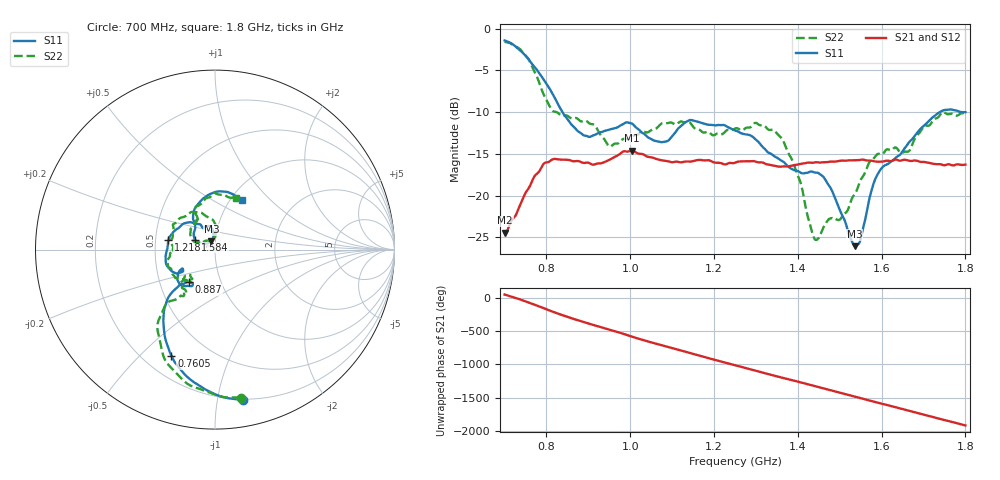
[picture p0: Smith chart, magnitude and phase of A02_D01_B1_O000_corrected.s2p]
! Created with skrf 1.9.0 (http://scikit-rf.org).
# Hz S RI R 50.0
!freq ReS11 ImS11 ReS21 ImS21 ReS12 ImS12 ReS22 ImS22
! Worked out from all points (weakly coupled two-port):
!   1601 points, 700 MHz to 1.8 GHz, reference 50 ohm
!   highest |S21| = -14.60 dB at 1.005 GHz (marker M1); lowest = -24.4 dB at 701.4 MHz (marker M2)
!   lowest |S11| = -26.1 dB at 1.536 GHz (marker M3), VSWR 1.10, Z = 47.8 + j4.35 ohm
!   |S11| at or under -10 dB: 838 MHz to 1.739 GHz (900.7 MHz wide, 69.9 % of centre); 1.794232 GHz to 1.794957 GHz (725.6 kHz wide, 0.0404 % of centre); 1.79879 GHz to end of sweep (the widest 3 of 5)
!   |S22| runs from -25.3 to -1.5 dB; largest |S21 - S12| = 0.0037
!   S11 on the Smith chart (normalised r, x): 700 MHz: 0.20, -1.19; 760.5 MHz: 0.31, -0.62; 887 MHz: 0.70, -0.27; 1.218 GHz: 0.59, +0.07; 1.584 GHz: 0.80, +0.09; 1.8 GHz: 1.12, +0.70
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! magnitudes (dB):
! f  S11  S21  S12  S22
! 700 MHz  -1.4  -24.4  -24.2  -1.5
! 701.4 MHz  -1.4  -24.4  -24.1  -1.6
! 760.5 MHz  -3.9  -18.8  -18.7  -4.0
! 813.4 MHz  -7.7  -15.7  -15.7  -9.8
! 883.6 MHz  -12.6  -16.0  -15.9  -11.1
! 887 MHz  -12.7  -16.1  -15.9  -11.1
! 950.9 MHz  -12.1  -15.7  -15.7  -14.1
! 1.005 GHz  -11.4  -14.6  -14.7  -12.9
! 1.067 GHz  -13.5  -15.7  -15.6  -11.7
! 1.141 GHz  -11.0  -15.9  -15.9  -11.2
! 1.218 GHz  -11.5  -16.1  -16.2  -12.6
! 1.25 GHz  -12.2  -16.1  -16.0  -12.0
! 1.361 GHz  -15.8  -16.5  -16.5  -13.1
! 1.405 GHz  -17.2  -16.2  -16.2  -18.2
! 1.434 GHz  -17.1  -16.1  -16.0  -24.3
! 1.478 GHz  -19.0  -15.9  -16.0  -22.8
! 1.536 GHz  -26.1  -15.8  -15.8  -19.8
! 1.584 GHz  -18.1  -15.9  -15.9  -15.4
! 1.617 GHz  -16.1  -15.8  -15.8  -14.5
! 1.664 GHz  -13.7  -15.8  -15.8  -14.7
! 1.735 GHz  -10.1  -16.2  -16.3  -10.6
! 1.8 GHz  -10.0  -16.3  -16.3  -10.2
